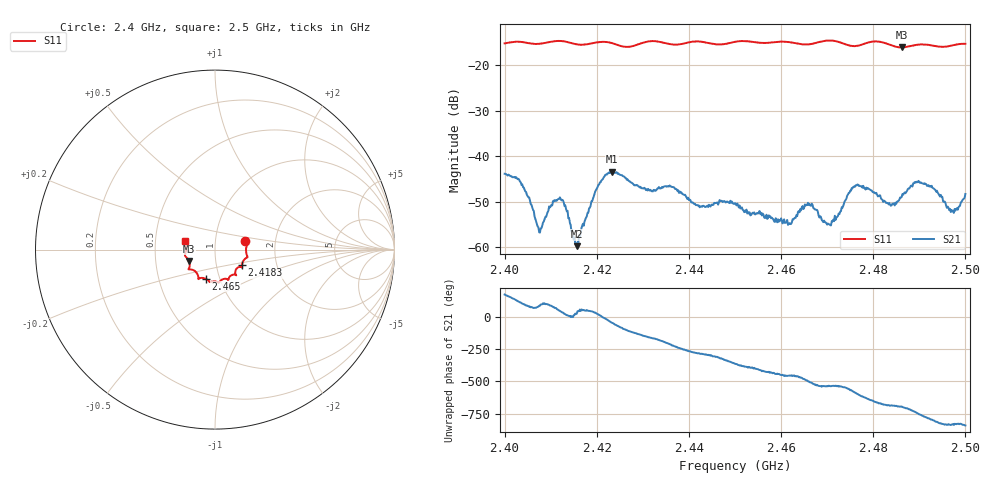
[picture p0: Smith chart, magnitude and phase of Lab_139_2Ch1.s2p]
# Hz S RI R 50
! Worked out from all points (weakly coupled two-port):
!   601 points, 2.4 GHz to 2.5 GHz, reference 50 ohm
!   highest |S21| = -43.42 dB at 2.4233 GHz (marker M1); lowest = -59.8 dB at 2.4157 GHz (marker M2)
!   lowest |S11| = -16.0 dB at 2.4862 GHz (marker M3), VSWR 1.37, Z = 37.1 - j4.81 ohm
!   |S11| at or under -10 dB: start of sweep to end of sweep
!   S12 and S22 are empty: the file has one direction only
!   S11 on the Smith chart (normalised r, x): 2.4 GHz: 1.40, +0.13; 2.4183 GHz: 1.33, -0.24; 2.465 GHz: 0.86, -0.29; 2.5 GHz: 0.71, +0.07
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2.4e9  0.1689 0.0459  -0.00638 0.000447  0 0  0 0
2.4035e9  0.1797 0.03  -0.00212 0.0047  0 0  0 0
2.4075e9  0.173 -0.00958  2.74e-05 0.00145  0 0  0 0
2.412333e9  0.1812 -0.0427  0.00248 0.00211  0 0  0 0
2.415667e9  0.1608 -0.0581  0.000899 0.000478  0 0  0 0
2.416667e9  0.1548 -0.0682  0.000816 0.00138  0 0  0 0
2.418333e9  0.1499 -0.0869  0.00176 0.00199  0 0  0 0
2.420667e9  0.1512 -0.1001  0.00495 0.00129  0 0  0 0
2.423333e9  0.1473 -0.0971  0.00489 -0.00465  0 0  0 0
2.433333e9  0.1167 -0.1414  -0.0044 -0.000307  0 0  0 0
2.442333e9  0.0734 -0.1685  0.000585 0.00267  0 0  0 0
2.45e9  0.025 -0.1806  0.00303 -0.000122  0 0  0 0
2.461833e9  -0.0322 -0.1779  -0.000164 -0.00182  0 0  0 0
2.465e9  -0.0528 -0.1622  -0.00138 -0.00231  0 0  0 0
2.466667e9  -0.0714 -0.1575  -0.00261 -0.00148  0 0  0 0
2.4705e9  -0.0923 -0.1645  -0.00176 -0.000151  0 0  0 0
2.476667e9  -0.1177 -0.1156  -0.00244 0.00421  0 0  0 0
2.483333e9  -0.142 -0.0959  0.00238 0.00174  0 0  0 0
2.486167e9  -0.1447 -0.0632  0.0032 0.00153  0 0  0 0
2.490167e9  -0.1666 -0.0361  0.00405 -0.00308  0 0  0 0
2.497333e9  -0.1644 0.0305  -0.000936 -0.00232  0 0  0 0
2.5e9  -0.1669 0.0472  -0.00204 -0.00324  0 0  0 0
